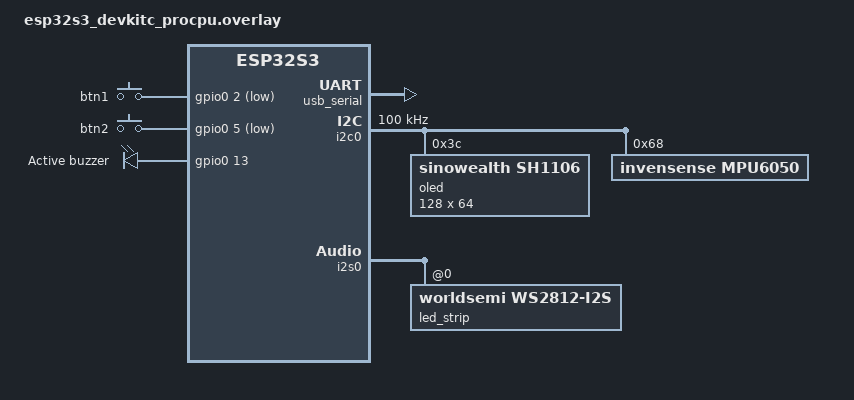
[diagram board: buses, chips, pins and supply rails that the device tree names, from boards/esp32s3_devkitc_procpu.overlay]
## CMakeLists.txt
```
# SPDX-License-Identifier: Apache-2.0

cmake_minimum_required(VERSION 3.20.0)

find_package(Zephyr REQUIRED HINTS $ENV{ZEPHYR_BASE})
project(zcube)

FILE(GLOB main_app_sources src/*.c)

list(REMOVE_ITEM main_app_sources "${CMAKE_CURRENT_SOURCE_DIR}/src/bringup.c")

message("Files: " ${main_app_sources})

if(CONFIG_APP_FIRMWARE_BRINGUP)
  target_sources(app PRIVATE src/bringup.c)
else()
  target_sources(app PRIVATE ${main_app_sources})
endif()
```

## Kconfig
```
# Copyright (c) 2019 Nordic Semiconductor ASA
# SPDX-License-Identifier: Apache-2.0

menu "WS2812 Sample Configuration"

config SAMPLE_LED_UPDATE_DELAY
	int "Delay between LED updates in ms"
	default 50
	help
	  Delay between LED updates in ms.

config SAMPLE_LED_BRIGHTNESS
	int "LED brightness"
	default 16
	range 1 255
	help
	  Brightness level of each LED. Defaults to a low value to make
	  it easier to distinguish colors.

endmenu

choice APP_FIRMWARE
	prompt "Firmware image to build"
	default APP_FIRMWARE_MAIN
	help
	  Seleciona qual imagem compilar a partir desta aplicacao.

config APP_FIRMWARE_MAIN
	bool "Main application firmware"
	help
	  Aplicacao principal do zcube (a ser desenvolvida). Fonte: src/main.c

config APP_FIRMWARE_BRINGUP
	bool "Hardware bringup test firmware"
	select SHELL
	select GPIO_SHELL
	select SENSOR_SHELL
	select CONFIG_CHARACTER_FRAMEBUFFER_SHELL
	help
	  Firmware de teste: apertar um botao -> beep no buzzer + alterna cor do WS2812.
	  Fonte: src/bringup.c

endchoice

source "Kconfig.zephyr"
```

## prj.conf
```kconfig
CONFIG_LOG=y

# Subsistemas
CONFIG_INPUT=y
CONFIG_LED=y
CONFIG_LED_STRIP=y
CONFIG_DISPLAY=y
CONFIG_CHARACTER_FRAMEBUFFER=y
CONFIG_SENSOR=y

CONFIG_ZBUS=y
CONFIG_SMF=y
CONFIG_SMF_ANCESTOR_SUPPORT=y
CONFIG_SMF_INITIAL_TRANSITION=y

CONFIG_CONSOLE=y

# Bluetooth (peripheral)
CONFIG_BT=y
CONFIG_BT_PERIPHERAL=y
CONFIG_BT_DEVICE_NAME="zcube"

CONFIG_HEAP_MEM_POOL_SIZE=65536

CONFIG_FLASH=y
CONFIG_FLASH_MAP=y
CONFIG_NVS=y
CONFIG_SETTINGS=y
CONFIG_SETTINGS_NVS=y
```

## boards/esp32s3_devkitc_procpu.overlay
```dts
/*
 * Copyright (c) 2024-2025 Espressif Systems (Shanghai) Co., Ltd.
 *
 * SPDX-License-Identifier: Apache-2.0
 */

#include <zephyr/dt-bindings/led/led.h>
#include <zephyr/dt-bindings/i2c/i2c.h>
#include <zephyr/dt-bindings/gpio/gpio.h>
#include <zephyr/dt-bindings/input/input-event-codes.h>

/ {
	chosen {
		zephyr,display = &oled;
		zephyr,console = &usb_serial;
		zephyr,shell-uart = &usb_serial;
	};

	aliases {
		led-strip = &led_strip;
		accel0 = &mpu6050;
		sw0 = &btn1;
		sw1 = &btn2;
		buzzer = &buzzer;
	};

	buttons: gpio_keys {
		compatible = "gpio-keys";

		btn1: button_1 {
			gpios = <&gpio0 2 (GPIO_ACTIVE_LOW | GPIO_PULL_UP)>;
			zephyr,code = <INPUT_KEY_0>;
		};

		btn2: button_2 {
			gpios = <&gpio0 5 (GPIO_ACTIVE_LOW | GPIO_PULL_UP)>;
			zephyr,code = <INPUT_KEY_1>;
		};
	};

	buzzer_dev: gpio_buzzer {
		compatible = "gpio-leds";

		buzzer: buzzer_gpio {
			gpios = <&gpio0 13 GPIO_ACTIVE_HIGH>;
			label = "Active buzzer";
		};
	};
};

&usb_serial {
	status = "okay";
};

/* Route the shared I2C0 bus to SDA=GPIO3 / SCL=GPIO4 (OLED + MPU6050). */
&i2c0_default {
	group1 {
		pinmux = <I2C0_SDA_GPIO3>, <I2C0_SCL_GPIO4>;
	};
};

&i2c0 {
	status = "okay";
	clock-frequency = <I2C_BITRATE_STANDARD>;

	oled: sh1106@3c {
		compatible = "sinowealth,sh1106";
		reg = <0x3c>;
		width = <128>;
		height = <64>;
		segment-offset = <2>;
		page-offset = <0>;
		display-offset = <0>;
		multiplex-ratio = <63>;
		prechargep = <0x22>;
		segment-remap;
		com-invdir;
	};

	mpu6050: mpu6050@68 {
		compatible = "invensense,mpu6050";
		reg = <0x68>;
	};
};

&i2s0_default {
	group1 {
		pinmux = <I2S0_O_SD_GPIO48>;
	};
};

i2s_led: &i2s0 {
	status = "okay";

	dmas = <&dma 3>;
	dma-names = "tx";

	led_strip: ws2812@0 {
		compatible = "worldsemi,ws2812-i2s";

		reg = <0>;
		chain-length = <1>;
		color-mapping = <LED_COLOR_ID_GREEN
				 LED_COLOR_ID_RED
				 LED_COLOR_ID_BLUE>;
		reset-delay = <500>;
	};
};

&dma {
	status = "okay";
};
```

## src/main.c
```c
/*
 * Copyright (c) 2017 Linaro Limited
 * Copyright (c) 2018 Intel Corporation
 * Copyright (c) 2024 TOKITA Hiroshi
 *
 * SPDX-License-Identifier: Apache-2.0
 */

#include <errno.h>
#include <string.h>

#include <zephyr/logging/log.h>

#include <zephyr/kernel.h>
#include <zephyr/drivers/led_strip.h>
#include <zephyr/device.h>
#include <zephyr/drivers/spi.h>
#include <zephyr/sys/util.h>

LOG_MODULE_REGISTER(main);
#define LOG_LEVEL 4

int main(void)
{
	return 0;
}
```

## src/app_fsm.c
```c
/**
 * @file app_fsm.c
 * 
 * @author Pedro Giló (phvg@ic.ufal.br)
 * @author Thiago Laurentino (tfml@ic.ufal.br)
 * @author Caio Oliveira (cofa@ic.ufal.br)
 *
 * @brief FSM do Pomodoro baseada em SMF: gerencia as fases WORK/BREAK/LONG_BREAK,
 *        o tick de 1 Hz e publica as atualizacoes de tela no servico de UI.
 * @version 0.1
 * @date 2026-07-05
 *
 * @copyright Copyright (c) 2026
 *
 */

#include "app_fsm.h"
#include "ui_service.h"
#include "orientation_service.h"
#include "led_driver.h"

#include <zephyr/kernel.h>
#include <zephyr/drivers/gpio.h>
#include <zephyr/smf.h>
#include <zephyr/logging/log.h>
#include <stdint.h>
#include <string.h>

LOG_MODULE_REGISTER(app_fsm_module, LOG_LEVEL_DBG);

/** @brief Tamanho da stack da thread da FSM (bytes). */
#define APP_FSM_STACK_SIZE 4096

/** @brief Prioridade da thread da FSM. */
#define APP_FSM_PRIORITY 5

/** @brief Duracao default do contador de WORK (s). */
#define WORK_DURATION_S (1 * 60)

/** @brief Duracao default do contador de BREAK (s). */
#define BREAK_DURATION_S (1 * 60)

/** @brief Duracao default do contador de LONG_BREAK (s). */
#define LONG_BREAK_DURATION_S (1 * 60)

/** @brief Periodo do tick da FSM (s). */
#define TICK_PERIOD_S 1

/** @brief Quantos WORK concluidos antes de um LONG_BREAK. */
#define WORK_CYCLES_PER_LONG_BREAK 4

/** @brief Cadencia do apito de alarme no fim de fase (ms, ciclo on/off completo). */
#define BUZZER_ALARM_PERIOD_MS 500

/**
 * @brief Estado da FSM do Pomodoro.
 *
 */
enum app_fsm_state {
	APP_FSM_STATE_RUNNING,    /**< Pai: tick/decremento comum. */
	APP_FSM_STATE_WORK,       /**< Filho de RUNNING: fase de trabalho. */
	APP_FSM_STATE_BREAK,      /**< Filho de RUNNING: pausa curta. */
	APP_FSM_STATE_LONG_BREAK, /**< Filho de RUNNING: pausa longa. */
	APP_FSM_STATE_PAUSED,     /**< Irmao: contador congelado. */
};

/**
 * @brief Contexto e estado da FSM do Pomodoro.
 *
 */
struct app_fsm_obj {
	struct smf_ctx ctx;          /**< Contexto do framework SMF. */
	struct app_fsm_evt_data evt; /**< Evento em processamento. */
	uint32_t remaining_s;        /**< Contador do estado ativo (decrementado pelo tick). */
	uint32_t work_s;             /**< Valor de contador do WORK. */
	uint32_t break_s;            /**< Valor de contador do BREAK. */
	uint32_t long_break_s;       /**< Valor de contador do LONG_BREAK. */
	enum ui_phase phase;         /**< Fase atual: UI e decisao da proxima fase. */
	uint8_t cycle_done;          /**< WORK concluidos no conjunto. */
	uint8_t cycle_total;         /**< WORK por conjunto antes do LONG_BREAK. */
	enum ui_arrow_dir arrow_dir; /**< Direcao da seta de acao (segue a orientacao). */
	const struct smf_state *resume_state; /**< Estado a retomar ao sair de PAUSED. */
};

/**
 * @brief Entry de RUNNING: inicia o timer periodico de tick.
 *
 * @param o [in,out] Contexto da FSM.
 */
static void running_entry(void *o);

/**
 * @brief Run de RUNNING: trata TICK (decremento/avanco) e giro (pausa).
 *
 * @param o [in,out] Contexto da FSM.
 * @return enum smf_state_result Sempre SMF_EVENT_HANDLED.
 */
static enum smf_state_result running_run(void *o);

/**
 * @brief Exit de RUNNING: para o timer periodico de tick.
 *
 * @param o [in,out] Contexto da FSM.
 */
static void running_exit(void *o);

/**
 * @brief Entry de WORK: fixa a fase de trabalho e atualiza a UI.
 *
 * @param o [in,out] Contexto da FSM.
 */
static void work_entry(void *o);

/**
 * @brief Entry de BREAK: fixa a pausa curta e atualiza a UI.
 *
 * @param o [in,out] Contexto da FSM.
 */
static void break_entry(void *o);

/**
 * @brief Entry de LONG_BREAK: fixa a pausa longa e atualiza a UI.
 *
 * @param o [in,out] Contexto da FSM.
 */
static void long_break_entry(void *o);

/**
 * @brief Entry de PAUSED: mostra a fase atual congelada na UI.
 *
 * @param o [in,out] Contexto da FSM.
 */
static void paused_entry(void *o);

/**
 * @brief Run de PAUSED: retoma o estado ao girar para FRONT/TOP.
 *
 * @param o [in,out] Contexto da FSM.
 * @return enum smf_state_result Sempre SMF_EVENT_HANDLED.
 */
static enum smf_state_result paused_run(void *o);

/**
 * @brief Fim de fase: escolhe a proxima, carrega sua duracao e vai para PAUSED.
 *
 * @param s [in,out] Contexto da FSM.
 */
static void advance_phase(struct app_fsm_obj *s);

/**
 * @brief Nome legivel da fase ativa (perfil): "work", "break" ou "long break".
 *
 * @param phase Fase atual do ciclo.
 * @return const char* Texto da fase; nunca retorna NULL.
 */
static const char *phase_name(enum ui_phase phase);

/**
 * @brief Reflete o estado atual (contador, run/paused e seta) no display.
 *
 * @param s [in] Contexto da FSM com os dados a exibir.
 * @param state Estado de operacao (rodando ou pausado) para a UI.
 */
static void publish_ui(const struct app_fsm_obj *s, enum ui_run_state state);

/**
 * @brief Reinicia o Pomodoro com as duracoes atuais: volta a WORK pausado.
 *
 * @param s [in,out] Contexto da FSM (usa work_s/break_s/long_break_s ja carregados).
 */
static void app_fsm_restart(struct app_fsm_obj *s);

/**
 * @brief Callback do timer: publica APP_FSM_EVENT_TICK na fila da FSM.
 *
 * @param t Timer que disparou (nao utilizado).
 */
static void app_fsm_tick_cb(struct k_timer *t);

/**
 * @brief Thread da FSM: inicializa o estado e processa eventos do zbus.
 *
 * @param p1 Nao utilizado.
 * @param p2 Nao utilizado.
 * @param p3 Nao utilizado.
 */
static void app_fsm_thread(void *p1, void *p2, void *p3);

/**
 * @brief Singleton da FSM do Pomodoro.
 *
 */
static struct app_fsm_obj self;

/**
 * @brief Tabela de estados da FSM.
 *
 */
static const struct smf_state app_states[] = {
	[APP_FSM_STATE_RUNNING] = SMF_CREATE_STATE(running_entry, running_run, running_exit, NULL,
						   &app_states[APP_FSM_STATE_WORK]),
	[APP_FSM_STATE_WORK] =
		SMF_CREATE_STATE(work_entry, NULL, NULL, &app_states[APP_FSM_STATE_RUNNING], NULL),
	[APP_FSM_STATE_BREAK] =
		SMF_CREATE_STATE(break_entry, NULL, NULL, &app_states[APP_FSM_STATE_RUNNING], NULL),
	[APP_FSM_STATE_LONG_BREAK] = SMF_CREATE_STATE(long_break_entry, NULL, NULL,
						      &app_states[APP_FSM_STATE_RUNNING], NULL),
	[APP_FSM_STATE_PAUSED] = SMF_CREATE_STATE(paused_entry, paused_run, NULL, NULL, NULL),
};

K_TIMER_DEFINE(app_fsm_tick, app_fsm_tick_cb, NULL);

ZBUS_SUBSCRIBER_DEFINE(app_fsm_subscriber, 16);

ZBUS_CHAN_DEFINE(app_fsm_evt_chan, struct app_fsm_evt_data, NULL, NULL,
		 ZBUS_OBSERVERS(app_fsm_subscriber), ZBUS_MSG_INIT(0));

K_THREAD_DEFINE(app_fsm_tid, APP_FSM_STACK_SIZE, app_fsm_thread, NULL, NULL, NULL, APP_FSM_PRIORITY,
		0, 0);

static void app_fsm_tick_cb(struct k_timer *t)
{
	ARG_UNUSED(t);

	struct app_fsm_evt_data msg = {.id = APP_FSM_EVENT_TICK};
	(void)zbus_chan_pub(&app_fsm_evt_chan, &msg, K_NO_WAIT); /* K_NO_WAIT: seguro em ISR */
}

static const char *phase_name(enum ui_phase phase)
{
	const char *name;

	switch (phase) {
	case UI_PHASE_WORK: {
		name = "work";
	} break;
	case UI_PHASE_SHORT_BREAK: {
		name = "break";
	} break;
	case UI_PHASE_LONG_BREAK: {
		name = "long break";
	} break;
	default: {
		name = "";
	} break;
	}

	return name;
}

static void publish_ui(const struct app_fsm_obj *s, enum ui_run_state state)
{
	struct ui_msg msg = {
		.screen = UI_SCREEN_MAIN,
		.data.main =
			{
				.remaining_s = s->remaining_s,
				.state = state,
				.phase = s->phase,
				.cycle_done = s->cycle_done,
				.cycle_total = s->cycle_total,
				.arrow_dir = s->arrow_dir,
			},
	};

	strncpy(msg.data.main.profile_name, phase_name(s->phase),
		sizeof(msg.data.main.profile_name) - 1);

	(void)ui_service_update(&msg);
}

static void advance_phase(struct app_fsm_obj *s)
{
	switch (s->phase) {
	case UI_PHASE_WORK: {
		s->cycle_done++;
		if (s->cycle_done >= s->cycle_total) {
			s->phase = UI_PHASE_LONG_BREAK;
			s->remaining_s = s->long_break_s;
			s->resume_state = &app_states[APP_FSM_STATE_LONG_BREAK];
		} else {
			s->phase = UI_PHASE_SHORT_BREAK;
			s->remaining_s = s->break_s;
			s->resume_state = &app_states[APP_FSM_STATE_BREAK];
		}
	} break;
	case UI_PHASE_SHORT_BREAK: {
		s->phase = UI_PHASE_WORK;
		s->remaining_s = s->work_s;
		s->resume_state = &app_states[APP_FSM_STATE_WORK];
	} break;
	case UI_PHASE_LONG_BREAK: {
		s->cycle_done = 0;
		s->phase = UI_PHASE_WORK;
		s->remaining_s = s->work_s;
		s->resume_state = &app_states[APP_FSM_STATE_WORK];
	} break;
	default: {
		/* Do nothing */
	} break;
	}

	smf_set_state(SMF_CTX(&self), &app_states[APP_FSM_STATE_PAUSED]);
}

static void app_fsm_restart(struct app_fsm_obj *s)
{
	s->remaining_s = s->work_s;
	s->phase = UI_PHASE_WORK;
	s->cycle_done = 0;
	s->resume_state = &app_states[APP_FSM_STATE_WORK];

	ui_service_buzzer(&(struct ui_buzzer_msg){.cmd = UI_BUZZER_OFF});
	smf_set_state(SMF_CTX(&self), &app_states[APP_FSM_STATE_PAUSED]);
}

static void running_entry(void *o)
{
	ARG_UNUSED(o);
	k_timer_start(&app_fsm_tick, K_SECONDS(TICK_PERIOD_S), K_SECONDS(TICK_PERIOD_S));
}

static enum smf_state_result running_run(void *o)
{
	struct app_fsm_obj *s = (struct app_fsm_obj *)o;

	switch (s->evt.id) {
	case APP_FSM_EVENT_TICK: {
		if (s->remaining_s > 0) {
			s->remaining_s--;
		}
		if (s->remaining_s == 0) {
			/* Fim de fase: apita indefinidamente ate um novo modo iniciar. */
			ui_service_buzzer(&(struct ui_buzzer_msg){
				.cmd = UI_BUZZER_ON,
				.period_ms = BUZZER_ALARM_PERIOD_MS,
				.duration_ms = 0,
			});
			advance_phase(s);
			break;
		}
		publish_ui(s, UI_STATE_RUNNING);
	} break;
	case APP_FSM_EVENT_ORIENTATION_CHANGED: {
		if (s->evt.data.orientation.current_face == ORIENTATION_FRONT ||
		    s->evt.data.orientation.current_face == ORIENTATION_TOP) {
			smf_set_state(SMF_CTX(&self), &app_states[APP_FSM_STATE_PAUSED]);
		}
	} break;
	case APP_FSM_EVENT_SKIP: {
		/* Pula para a proxima fase, que comeca pausada (advance_phase -> PAUSED). */
		ui_service_buzzer(&(struct ui_buzzer_msg){.cmd = UI_BUZZER_OFF});
		advance_phase(s);
	} break;
	default: {
		/* Do nothing */
	} break;
	}

	return SMF_EVENT_HANDLED;
}

static void running_exit(void *o)
{
	ARG_UNUSED(o);
	k_timer_stop(&app_fsm_tick);
}

static void work_entry(void *o)
{
	struct app_fsm_obj *s = (struct app_fsm_obj *)o;

	s->phase = UI_PHASE_WORK;
	s->resume_state = &app_states[APP_FSM_STATE_WORK];

	ui_service_buzzer(&(struct ui_buzzer_msg){.cmd = UI_BUZZER_OFF});
	publish_ui(s, UI_STATE_RUNNING);
}

static void break_entry(void *o)
{
	struct app_fsm_obj *s = (struct app_fsm_obj *)o;

	s->phase = UI_PHASE_SHORT_BREAK;
	s->resume_state = &app_states[APP_FSM_STATE_BREAK];

	ui_service_buzzer(&(struct ui_buzzer_msg){.cmd = UI_BUZZER_OFF});
	publish_ui(s, UI_STATE_RUNNING);
}

static void long_break_entry(void *o)
{
	struct app_fsm_obj *s = (struct app_fsm_obj *)o;

	s->phase = UI_PHASE_LONG_BREAK;
	s->resume_state = &app_states[APP_FSM_STATE_LONG_BREAK];

	ui_service_buzzer(&(struct ui_buzzer_msg){.cmd = UI_BUZZER_OFF});
	publish_ui(s, UI_STATE_RUNNING);
}

static void paused_entry(void *o)
{
	struct app_fsm_obj *s = (struct app_fsm_obj *)o;

	publish_ui(s, UI_STATE_PAUSED);
}

static enum smf_state_result paused_run(void *o)
{
	struct app_fsm_obj *s = (struct app_fsm_obj *)o;

	switch (s->evt.id) {

	case APP_FSM_EVENT_SKIP: {
		ui_service_buzzer(&(struct ui_buzzer_msg){.cmd = UI_BUZZER_OFF});
		advance_phase(s);
	} break;

	case APP_FSM_EVENT_ORIENTATION_CHANGED: {
		if ((s->evt.data.orientation.current_face == ORIENTATION_FRONT) ||
		    (s->evt.data.orientation.current_face == ORIENTATION_TOP)) {
			smf_set_state(SMF_CTX(&self), s->resume_state);
		}
	} break;

	default: {
		/* DO NOTHING */
	} break;
	}

	return SMF_EVENT_HANDLED;
}

static void app_fsm_thread(void *p1, void *p2, void *p3)
{
	ARG_UNUSED(p1);
	ARG_UNUSED(p2);
	ARG_UNUSED(p3);

	const struct zbus_channel *chan;

	self.work_s = WORK_DURATION_S;
	self.break_s = BREAK_DURATION_S;
	self.long_break_s = LONG_BREAK_DURATION_S;
	self.remaining_s = self.work_s;
	self.phase = UI_PHASE_WORK;
	self.cycle_done = 0;
	self.cycle_total = WORK_CYCLES_PER_LONG_BREAK;
	self.resume_state = &app_states[APP_FSM_STATE_WORK];
	self.arrow_dir = UI_ARROW_TOP;

	/* Comeca parado mostrando WORK; girar para FRONT/TOP inicia a contagem. */
	smf_set_initial(SMF_CTX(&self), &app_states[APP_FSM_STATE_PAUSED]);

	while (!zbus_sub_wait(&app_fsm_subscriber, &chan, K_FOREVER)) {
		struct app_fsm_evt_data evt = {0};

		if (&app_fsm_evt_chan == chan) {
			int rc = zbus_chan_read(&app_fsm_evt_chan, &evt, K_MSEC(200));
			if (rc) {
				LOG_WRN("zbus_chan_read fail: %d", rc);
				continue;
			}

			if (evt.id == APP_FSM_EVENT_CONFIG) {
				self.work_s = evt.data.config.work_s;
				self.break_s = evt.data.config.break_s;
				self.long_break_s = evt.data.config.long_break_s;
				app_fsm_restart(&self);
				continue;
			}

			if (evt.id == APP_FSM_EVENT_ORIENTATION_CHANGED) {
				switch (evt.data.orientation.current_face) {
				case ORIENTATION_FRONT: {
					self.arrow_dir = UI_ARROW_TOP;
				} break;
				case ORIENTATION_TOP: {
					self.arrow_dir = UI_ARROW_BOTTOM;
				} break;
				default: {
					/* outras faces nao alteram a seta */
				} break;
				}
			}

			self.evt = evt;
			smf_run_state(SMF_CTX(&self));
		}
	}
}
```

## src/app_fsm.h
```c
/**
 * @file app_fsm.h
 *
 * @author Pedro Giló (phvg@ic.ufal.br)
 * @author Thiago Laurentino (tfml@ic.ufal.br)
 * @author Caio Oliveira (cofa@ic.ufal.br)
 *
 * @brief Interface publica da FSM do Pomodoro: eventos e struct de dados de
 *        evento postados no canal zbus da FSM.
 * @version 0.1
 * @date 2026-07-05
 *
 * @copyright Copyright (c) 2026
 *
 */

#ifndef APP_FSM_H
#define APP_FSM_H

#include "zbus_chan.h"
#include "orientation_service.h"

#include <stdint.h>

/**
 * @brief Evento processado pela FSM do Pomodoro.
 *
 */
enum app_fsm_event {
	APP_FSM_EVENT_HANDLE = 0,          /**< Reservado (nao utilizado). */
	APP_FSM_EVENT_NEXT,                /**< Alterna rodar/pausar o timer. */
	APP_FSM_EVENT_PREVIOUS,            /**< Zera o timer atual. */
	APP_FSM_EVENT_ORIENTATION_CHANGED, /**< Face para cima mudou. */
	APP_FSM_EVENT_TICK,                /**< 1 Hz: decrementa o contador ativo. */
	APP_FSM_EVENT_SKIP,                /**< Pula a fase atual (long press dos dois botoes). */
	APP_FSM_EVENT_CONFIG,              /**< Nova configuracao (duracoes) aplicada via BLE. */
};

/**
 * @brief Dados de um evento postado na FSM.
 *
 */
struct app_fsm_evt_data {
	enum app_fsm_event id; /**< Identificador do evento. */

	union data {
		struct orientation {
			enum orientation_face previous_face; /**< Face anterior. */
			enum orientation_face current_face;  /**< Face atual. */
		} orientation;                               /**< Dados de mudanca de orientacao. */
		struct config_evt_data {
			uint16_t work_s;       /**< Nova duracao WORK (s). */
			uint16_t break_s;      /**< Nova duracao BREAK (s). */
			uint16_t long_break_s; /**< Nova duracao LONG_BREAK (s). */
		} config;
	} data; /**< Carga util especifica do evento. */
};

#endif /* APP_FSM_H */
```

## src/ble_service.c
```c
/**
 * @file ble_service.c
 *
 * @author Pedro Giló (phvg@ic.ufal.br)
 * @author Thiago Laurentino (tfml@ic.ufal.br)
 * @author Caio Oliveira (cofa@ic.ufal.br)
 *
 * @brief Servico BLE das duracoes do Pomodoro: servico GATT para ler/escrever
 *        WORK/BREAK/LONG_BREAK (persistidas em NVS via Settings), aplicar a config
 *        (reinicia a FSM pelo zbus) e transmitir por notify a fase ativa e o tempo
 *        restante (derivados do canal de UI).
 * @version 0.1
 * @date 2026-07-05
 *
 * @copyright Copyright (c) 2026
 *
 */

#include "ble_service.h"
#include "ble_uuids.h"
#include "app_fsm.h"
#include "ui_service.h"
#include "zbus_chan.h"

#include <zephyr/kernel.h>
#include <zephyr/bluetooth/bluetooth.h>
#include <zephyr/bluetooth/gatt.h>
#include <zephyr/bluetooth/att.h>
#include <zephyr/settings/settings.h>
#include <zephyr/sys/byteorder.h>
#include <zephyr/logging/log.h>
#include <string.h>

LOG_MODULE_REGISTER(ble_service, LOG_LEVEL_DBG);

/** @brief Tamanho da stack da thread do servico BLE (bytes). */
#define BLE_SERVICE_STACK_SIZE 4096

/** @brief Prioridade da thread do servico BLE. */
#define BLE_SERVICE_PRIORITY 7

/** @brief Profundidade da fila do subscriber do canal de UI. */
#define BLE_SERVICE_QUEUE_DEPTH 8

/** @brief Duracao default de fabrica do WORK (min). */
#define BLE_SERVICE_DEFAULT_WORK_MIN 1

/** @brief Duracao default de fabrica do BREAK (min). */
#define BLE_SERVICE_DEFAULT_BREAK_MIN 1

/** @brief Duracao default de fabrica do LONG_BREAK (min). */
#define BLE_SERVICE_DEFAULT_LONG_BREAK_MIN 1

/** @brief Duracao minima aceita numa escrita (min). */
#define BLE_SERVICE_MIN_MINUTES 1

/** @brief Duracao maxima aceita numa escrita (min). */
#define BLE_SERVICE_MAX_MINUTES 60

/** @brief Segundos por minuto (conversao para a FSM). */
#define BLE_SERVICE_SECONDS_PER_MIN 60

/** @brief Subtree do Settings do modulo. */
#define BLE_SERVICE_SETTINGS_SUBTREE "zcube"

/** @brief Chave do Settings (relativa ao subtree) com o blob das 3 duracoes. */
#define BLE_SERVICE_SETTINGS_KEY "cfg"

/** @brief Caminho completo da chave usada em settings_save_one. */
#define BLE_SERVICE_SETTINGS_PATH BLE_SERVICE_SETTINGS_SUBTREE "/" BLE_SERVICE_SETTINGS_KEY

/** @brief Tamanho do blob persistido: 3 duracoes u16 little-endian (min). */
#define BLE_SERVICE_BLOB_LEN 6

/** @brief Indice do atributo de valor da fase ativa na tabela do servico. */
#define BLE_SERVICE_ATTR_PHASE_IDX 10

/** @brief Indice do atributo de valor do tempo restante na tabela do servico. */
#define BLE_SERVICE_ATTR_REMAINING_IDX 13

/**
 * @brief Callback de mudanca de CCC (subscribe/unsubscribe de notify).
 *
 * @param attr Atributo CCC alterado.
 * @param value Novo valor do CCC.
 */
static void ble_ccc_changed(const struct bt_gatt_attr *attr, uint16_t value);

/**
 * @brief Read GATT de um u16 apontado por attr->user_data (little-endian).
 *
 * @param conn Conexao que le.
 * @param attr Atributo cujo user_data aponta para um uint16_t.
 * @param buf [out] Buffer de saida do ATT.
 * @param len Tamanho do buffer.
 * @param offset Deslocamento da leitura.
 * @return ssize_t Bytes lidos ou codigo de erro ATT.
 */
static ssize_t ble_read_u16(struct bt_conn *conn, const struct bt_gatt_attr *attr, void *buf,
			    uint16_t len, uint16_t offset);

/**
 * @brief Write GATT de uma duracao (u16 min) apontada por attr->user_data; persiste.
 *
 * @param conn Conexao que escreve.
 * @param attr Atributo cujo user_data aponta para um uint16_t (minutos).
 * @param buf [in] Dados recebidos (u16 little-endian, em minutos).
 * @param len Tamanho dos dados.
 * @param offset Deslocamento da escrita.
 * @param flags Flags do write.
 * @return ssize_t Bytes escritos ou codigo de erro ATT.
 */
static ssize_t ble_write_duration(struct bt_conn *conn, const struct bt_gatt_attr *attr,
				  const void *buf, uint16_t len, uint16_t offset, uint8_t flags);

/**
 * @brief Read GATT da fase ativa (u8).
 *
 * @param conn Conexao que le.
 * @param attr Atributo lido.
 * @param buf [out] Buffer de saida do ATT.
 * @param len Tamanho do buffer.
 * @param offset Deslocamento da leitura.
 * @return ssize_t Bytes lidos ou codigo de erro ATT.
 */
static ssize_t ble_read_phase(struct bt_conn *conn, const struct bt_gatt_attr *attr, void *buf,
			      uint16_t len, uint16_t offset);

/**
 * @brief Write GATT de apply: publica a config no zbus para a FSM reiniciar.
 *
 * @param conn Conexao que escreve.
 * @param attr Atributo escrito.
 * @param buf [in] Deve conter um unico byte igual a 1.
 * @param len Tamanho dos dados.
 * @param offset Deslocamento da escrita.
 * @param flags Flags do write.
 * @return ssize_t Bytes escritos ou codigo de erro ATT.
 */
static ssize_t ble_write_apply(struct bt_conn *conn, const struct bt_gatt_attr *attr,
			       const void *buf, uint16_t len, uint16_t offset, uint8_t flags);

/**
 * @brief Persiste as 3 duracoes atuais como um blob em NVS via Settings.
 *
 * @return int 0 em sucesso, negativo em falha.
 */
static int ble_service_save(void);

/**
 * @brief Publica a config atual (3 duracoes) no canal da FSM.
 *
 * @param timeout Timeout do zbus_chan_pub.
 */
static void ble_service_publish_config(k_timeout_t timeout);

/**
 * @brief Handler de Settings: carrega o blob das 3 duracoes para o singleton.
 *
 * @param key Chave relativa ao subtree.
 * @param len Tamanho do dado no backend.
 * @param read_cb Funcao para ler o dado do backend.
 * @param cb_arg Argumento opaco do backend.
 * @return int 0 em sucesso, negativo em falha.
 */
static int ble_settings_set(const char *key, size_t len, settings_read_cb read_cb, void *cb_arg);

/**
 * @brief Envia notify da fase ativa e do tempo restante aos clientes inscritos.
 */
static void ble_service_notify(void);

/**
 * @brief Thread do servico BLE: inicializa Settings/BT/advertising e transmite
 *        o estado da FSM (fase ativa e tempo restante) por notify.
 *
 * @param p1 Nao utilizado.
 * @param p2 Nao utilizado.
 * @param p3 Nao utilizado.
 */
static void ble_service_thread(void *p1, void *p2, void *p3);

/**
 * @brief Singleton do servico BLE.
 *
 */
static struct ble_service {
	uint16_t work_min;       /**< Duracao WORK (min). */
	uint16_t break_min;      /**< Duracao BREAK (min). */
	uint16_t long_break_min; /**< Duracao LONG_BREAK (min). */
	uint16_t remaining_s;    /**< Ultimo tempo restante recebido do canal de UI (s). */
	uint8_t active_phase;    /**< Ultima fase recebida do canal de UI (enum ui_phase). */
} self = {
	.work_min = BLE_SERVICE_DEFAULT_WORK_MIN,
	.break_min = BLE_SERVICE_DEFAULT_BREAK_MIN,
	.long_break_min = BLE_SERVICE_DEFAULT_LONG_BREAK_MIN,
	.remaining_s = BLE_SERVICE_DEFAULT_WORK_MIN * BLE_SERVICE_SECONDS_PER_MIN,
	.active_phase = UI_PHASE_WORK,
};

/**
 * @brief Handler de Settings do modulo (subtree "zcube").
 *
 */
static struct settings_handler ble_settings_handler = {
	.name = BLE_SERVICE_SETTINGS_SUBTREE,
	.h_set = ble_settings_set,
};

/**
 * @brief Dados de advertising: flags e nome completo do dispositivo.
 *
 */
static const struct bt_data ble_adv_data[] = {
	BT_DATA_BYTES(BT_DATA_FLAGS, (BT_LE_AD_GENERAL | BT_LE_AD_NO_BREDR)),
	BT_DATA(BT_DATA_NAME_COMPLETE, CONFIG_BT_DEVICE_NAME, sizeof(CONFIG_BT_DEVICE_NAME) - 1),
};

BT_GATT_SERVICE_DEFINE(
	zcube_svc,
	 BT_GATT_PRIMARY_SERVICE(BLE_UUID_ZCUBE_SVC),
	BT_GATT_CHARACTERISTIC(BLE_UUID_ZCUBE_WORK, BT_GATT_CHRC_READ | BT_GATT_CHRC_WRITE,
			       BT_GATT_PERM_READ | BT_GATT_PERM_WRITE, ble_read_u16,
			       ble_write_duration, &self.work_min),
	BT_GATT_CHARACTERISTIC(BLE_UUID_ZCUBE_BREAK, BT_GATT_CHRC_READ | BT_GATT_CHRC_WRITE,
			       BT_GATT_PERM_READ | BT_GATT_PERM_WRITE, ble_read_u16,
			       ble_write_duration, &self.break_min),
	BT_GATT_CHARACTERISTIC(BLE_UUID_ZCUBE_LONG_BREAK, BT_GATT_CHRC_READ | BT_GATT_CHRC_WRITE,
			       BT_GATT_PERM_READ | BT_GATT_PERM_WRITE, ble_read_u16,
			       ble_write_duration, &self.long_break_min),
	BT_GATT_CHARACTERISTIC(BLE_UUID_ZCUBE_APPLY, BT_GATT_CHRC_WRITE, BT_GATT_PERM_WRITE, NULL,
			       ble_write_apply, NULL),
	BT_GATT_CHARACTERISTIC(BLE_UUID_ZCUBE_ACTIVE_PHASE, BT_GATT_CHRC_READ | BT_GATT_CHRC_NOTIFY,
			       BT_GATT_PERM_READ, ble_read_phase, NULL, NULL),
	BT_GATT_CCC(ble_ccc_changed, BT_GATT_PERM_READ | BT_GATT_PERM_WRITE),
	BT_GATT_CHARACTERISTIC(BLE_UUID_ZCUBE_REMAINING, BT_GATT_CHRC_READ | BT_GATT_CHRC_NOTIFY,
			       BT_GATT_PERM_READ, ble_read_u16, NULL, &self.remaining_s),
	BT_GATT_CCC(ble_ccc_changed, BT_GATT_PERM_READ | BT_GATT_PERM_WRITE), );

ZBUS_SUBSCRIBER_DEFINE(ble_service_subscriber, BLE_SERVICE_QUEUE_DEPTH);

ZBUS_CHAN_ADD_OBS(ui_cmd_chan, ble_service_subscriber, 3);

K_THREAD_DEFINE(ble_service_tid, BLE_SERVICE_STACK_SIZE, ble_service_thread, NULL, NULL, NULL,
		BLE_SERVICE_PRIORITY, 0, 0);

static void ble_ccc_changed(const struct bt_gatt_attr *attr, uint16_t value)
{
	ARG_UNUSED(attr);
	LOG_DBG("CCC alterado: 0x%04x", value);
}

static ssize_t ble_read_u16(struct bt_conn *conn, const struct bt_gatt_attr *attr, void *buf,
			    uint16_t len, uint16_t offset)
{
	const uint16_t *field = attr->user_data;
	uint8_t le[sizeof(uint16_t)];

	sys_put_le16(*field, le);
	return bt_gatt_attr_read(conn, attr, buf, len, offset, le, sizeof(le));
}

static ssize_t ble_write_duration(struct bt_conn *conn, const struct bt_gatt_attr *attr,
				  const void *buf, uint16_t len, uint16_t offset, uint8_t flags)
{
	ARG_UNUSED(conn);
	ARG_UNUSED(flags);

	uint16_t *field = attr->user_data;

	if (offset != 0) {
		return BT_GATT_ERR(BT_ATT_ERR_INVALID_OFFSET);
	}
	if (len != sizeof(uint16_t)) {
		return BT_GATT_ERR(BT_ATT_ERR_INVALID_ATTRIBUTE_LEN);
	}

	uint16_t v = sys_get_le16(buf);

	if (v < BLE_SERVICE_MIN_MINUTES || v > BLE_SERVICE_MAX_MINUTES) {
		return BT_GATT_ERR(BT_ATT_ERR_VALUE_NOT_ALLOWED);
	}

	*field = v;

	int rc = ble_service_save();

	if (rc) {
		LOG_ERR("Falha ao persistir config: %d", rc);
	}

	return len;
}

static ssize_t ble_read_phase(struct bt_conn *conn, const struct bt_gatt_attr *attr, void *buf,
			      uint16_t len, uint16_t offset)
{
	uint8_t v = self.active_phase;

	return bt_gatt_attr_read(conn, attr, buf, len, offset, &v, sizeof(v));
}

static ssize_t ble_write_apply(struct bt_conn *conn, const struct bt_gatt_attr *attr,
			       const void *buf, uint16_t len, uint16_t offset, uint8_t flags)
{
	ARG_UNUSED(conn);
	ARG_UNUSED(attr);
	ARG_UNUSED(flags);

	if (offset != 0) {
		return BT_GATT_ERR(BT_ATT_ERR_INVALID_OFFSET);
	}
	if (len != sizeof(uint8_t)) {
		return BT_GATT_ERR(BT_ATT_ERR_INVALID_ATTRIBUTE_LEN);
	}

	uint8_t v = *(const uint8_t *)buf;

	if (v != 1) {
		return BT_GATT_ERR(BT_ATT_ERR_VALUE_NOT_ALLOWED);
	}

	ble_service_publish_config(K_MSEC(50));
	return len;
}

static int ble_service_save(void)
{
	uint8_t blob[BLE_SERVICE_BLOB_LEN];

	sys_put_le16(self.work_min, &blob[0]);
	sys_put_le16(self.break_min, &blob[2]);
	sys_put_le16(self.long_break_min, &blob[4]);

	return settings_save_one(BLE_SERVICE_SETTINGS_PATH, blob, sizeof(blob));
}

static void ble_service_publish_config(k_timeout_t timeout)
{
	struct app_fsm_evt_data msg = {
		.id = APP_FSM_EVENT_CONFIG,
		.data.config = {
			.work_s = (uint16_t)(self.work_min * BLE_SERVICE_SECONDS_PER_MIN),
			.break_s = (uint16_t)(self.break_min * BLE_SERVICE_SECONDS_PER_MIN),
			.long_break_s = (uint16_t)(self.long_break_min * BLE_SERVICE_SECONDS_PER_MIN),
		},
	};

	int rc = zbus_chan_pub(&app_fsm_evt_chan, &msg, timeout);

	if (rc) {
		LOG_ERR("Falha ao publicar config: %d", rc);
	}
}

static int ble_settings_set(const char *key, size_t len, settings_read_cb read_cb, void *cb_arg)
{
	if (strcmp(key, BLE_SERVICE_SETTINGS_KEY) != 0) {
		return -ENOENT;
	}

	if (len != BLE_SERVICE_BLOB_LEN) {
		LOG_WRN("Blob de config com tamanho inesperado: %u", (unsigned int)len);
		return -EINVAL;
	}

	uint8_t blob[BLE_SERVICE_BLOB_LEN];
	ssize_t rd = read_cb(cb_arg, blob, sizeof(blob));

	if (rd != (ssize_t)sizeof(blob)) {
		LOG_ERR("Falha ao ler config do backend: %d", (int)rd);
		return -EIO;
	}

	self.work_min = sys_get_le16(&blob[0]);
	self.break_min = sys_get_le16(&blob[2]);
	self.long_break_min = sys_get_le16(&blob[4]);

	return 0;
}

static void ble_service_notify(void)
{
	uint8_t phase = self.active_phase;
	uint8_t remaining[sizeof(uint16_t)];

	sys_put_le16(self.remaining_s, remaining);

	(void)bt_gatt_notify(NULL, &zcube_svc.attrs[BLE_SERVICE_ATTR_PHASE_IDX], &phase,
			     sizeof(phase));
	(void)bt_gatt_notify(NULL, &zcube_svc.attrs[BLE_SERVICE_ATTR_REMAINING_IDX], remaining,
			     sizeof(remaining));
}

static void ble_service_thread(void *p1, void *p2, void *p3)
{
	ARG_UNUSED(p1);
	ARG_UNUSED(p2);
	ARG_UNUSED(p3);

	const struct zbus_channel *chan;

	int rc = settings_subsys_init();

	if (rc) {
		LOG_ERR("settings_subsys_init falhou: %d", rc);
		return;
	}

	rc = settings_register(&ble_settings_handler);
	if (rc) {
		LOG_ERR("settings_register falhou: %d", rc);
		return;
	}

	rc = settings_load();
	if (rc) {
		LOG_WRN("settings_load falhou: %d (usando defaults)", rc);
	}

	rc = bt_enable(NULL);
	if (rc) {
		LOG_ERR("bt_enable falhou: %d", rc);
		return;
	}

	rc = bt_le_adv_start(BT_LE_ADV_CONN_FAST_2, ble_adv_data, ARRAY_SIZE(ble_adv_data), NULL,
			     0);
	if (rc) {
		LOG_ERR("bt_le_adv_start falhou: %d", rc);
		return;
	}

	LOG_INF("Servico BLE 'zcube' no ar (work=%u break=%u long=%u min)", self.work_min,
		self.break_min, self.long_break_min);

	/* Tira a FSM do default de fabrica com os valores carregados do NVS. */
	ble_service_publish_config(K_MSEC(200));

	while (!zbus_sub_wait(&ble_service_subscriber, &chan, K_FOREVER)) {
		struct ui_msg msg = {0};

		if (&ui_cmd_chan != chan) {
			continue;
		}

		rc = zbus_chan_read(&ui_cmd_chan, &msg, K_MSEC(200));
		if (rc) {
			LOG_WRN("zbus_chan_read (ui) falhou: %d", rc);
			continue;
		}

		if (msg.screen != UI_SCREEN_MAIN) {
			continue;
		}

		self.active_phase = (uint8_t)msg.data.main.phase;
		self.remaining_s = (uint16_t)msg.data.main.remaining_s;
		ble_service_notify();
	}
}
```

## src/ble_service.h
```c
/**
 * @file ble_service.h
 *
 * @author Pedro Giló (phvg@ic.ufal.br)
 * @author Thiago Laurentino (tfml@ic.ufal.br)
 * @author Caio Oliveira (cofa@ic.ufal.br)
 *
 * @brief Servico BLE de configuracao das duracoes do Pomodoro. Expoe um servico
 *        GATT para ler/escrever WORK/BREAK/LONG_BREAK, aplicar (reinicia a FSM) e
 *        transmitir por notify a fase ativa e o tempo restante. Sobe sozinho via
 *        K_THREAD_DEFINE; nao ha API publica a chamar.
 * @version 0.1
 * @date 2026-07-05
 *
 * @copyright Copyright (c) 2026
 *
 */

#ifndef BLE_SERVICE_H
#define BLE_SERVICE_H

#endif /* BLE_SERVICE_H */
```

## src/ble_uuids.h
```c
/**
 * @file ble_uuids.h
 *
 * @author Pedro Giló (phvg@ic.ufal.br)
 * @author Thiago Laurentino (tfml@ic.ufal.br)
 * @author Caio Oliveira (cofa@ic.ufal.br)
 *
 * @brief UUIDs 128-bit do servico BLE de configuracao das duracoes do zcube:
 *        servico primario e caracteristicas derivadas do UUID base.
 * @version 0.1
 * @date 2026-07-05
 *
 * @copyright Copyright (c) 2026
 *
 */

#ifndef BLE_UUIDS_H
#define BLE_UUIDS_H

#include <zephyr/bluetooth/uuid.h>

/** @brief UUID base do zcube; o campo de 32 bits identifica cada atributo. */
#define BLE_UUID_ZCUBE(w32) BT_UUID_128_ENCODE((w32), 0xd7e2, 0x4b3a, 0x9c1e, 0x2a4b6c8d0e1f)

/** @brief UUID do servico primario de configuracao. */
#define BLE_UUID_ZCUBE_SVC_VAL BLE_UUID_ZCUBE(0x5f1d0001)

/** @brief UUID da caracteristica de duracao WORK. */
#define BLE_UUID_ZCUBE_WORK_VAL BLE_UUID_ZCUBE(0x5f1d0002)

/** @brief UUID da caracteristica de duracao BREAK. */
#define BLE_UUID_ZCUBE_BREAK_VAL BLE_UUID_ZCUBE(0x5f1d0003)

/** @brief UUID da caracteristica de duracao LONG_BREAK. */
#define BLE_UUID_ZCUBE_LONG_BREAK_VAL BLE_UUID_ZCUBE(0x5f1d0004)

/** @brief UUID da caracteristica de aplicar (reinicia o Pomodoro). */
#define BLE_UUID_ZCUBE_APPLY_VAL BLE_UUID_ZCUBE(0x5f1d0005)

/** @brief UUID da caracteristica de stream da fase ativa. */
#define BLE_UUID_ZCUBE_ACTIVE_PHASE_VAL BLE_UUID_ZCUBE(0x5f1d0006)

/** @brief UUID da caracteristica de stream do tempo restante. */
#define BLE_UUID_ZCUBE_REMAINING_VAL BLE_UUID_ZCUBE(0x5f1d0007)

/** @brief Ponteiro para o UUID do servico primario. */
#define BLE_UUID_ZCUBE_SVC BT_UUID_DECLARE_128(BLE_UUID_ZCUBE_SVC_VAL)

/** @brief Ponteiro para o UUID da caracteristica WORK. */
#define BLE_UUID_ZCUBE_WORK BT_UUID_DECLARE_128(BLE_UUID_ZCUBE_WORK_VAL)

/** @brief Ponteiro para o UUID da caracteristica BREAK. */
#define BLE_UUID_ZCUBE_BREAK BT_UUID_DECLARE_128(BLE_UUID_ZCUBE_BREAK_VAL)

/** @brief Ponteiro para o UUID da caracteristica LONG_BREAK. */
#define BLE_UUID_ZCUBE_LONG_BREAK BT_UUID_DECLARE_128(BLE_UUID_ZCUBE_LONG_BREAK_VAL)

/** @brief Ponteiro para o UUID da caracteristica APPLY. */
#define BLE_UUID_ZCUBE_APPLY BT_UUID_DECLARE_128(BLE_UUID_ZCUBE_APPLY_VAL)

/** @brief Ponteiro para o UUID da caracteristica de fase ativa. */
#define BLE_UUID_ZCUBE_ACTIVE_PHASE BT_UUID_DECLARE_128(BLE_UUID_ZCUBE_ACTIVE_PHASE_VAL)

/** @brief Ponteiro para o UUID da caracteristica de tempo restante. */
#define BLE_UUID_ZCUBE_REMAINING BT_UUID_DECLARE_128(BLE_UUID_ZCUBE_REMAINING_VAL)

#endif /* BLE_UUIDS_H */
```

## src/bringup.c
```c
#include <zephyr/kernel.h>
#include <zephyr/device.h>
#include <zephyr/drivers/led_strip.h>
#include <zephyr/drivers/led.h>
#include <zephyr/drivers/sensor.h>
#include <zephyr/input/input.h>
#include <zephyr/display/cfb.h>
#include <zephyr/logging/log.h>
#include <zephyr/sys/util.h>
#include <stdio.h>
#include <stdlib.h>

LOG_MODULE_REGISTER(bringup, LOG_LEVEL_INF);

#define STRIP_NODE  DT_ALIAS(led_strip)
#define ACCEL_NODE  DT_ALIAS(accel0)
#define BUZZER_NODE DT_ALIAS(buzzer)

#define STRIP_NUM_PIXELS DT_PROP(STRIP_NODE, chain_length)
#define BEEP_MS          60
#define REFRESH_MS       200
#define BRIGHT           CONFIG_SAMPLE_LED_BRIGHTNESS

static const struct device *const strip = DEVICE_DT_GET(STRIP_NODE);
static const struct device *const accel = DEVICE_DT_GET(ACCEL_NODE);
static const struct led_dt_spec buzzer = LED_DT_SPEC_GET(BUZZER_NODE);

static const struct device *const display = DEVICE_DT_GET(DT_CHOSEN(zephyr_display));

static const struct led_rgb palette[] = {
	{.r = 0, .g = 0, .b = 0},      /* off   */
	{.r = BRIGHT, .g = 0, .b = 0}, /* red   */
	{.r = 0, .g = BRIGHT, .b = 0}, /* green */
	{.r = 0, .g = 0, .b = BRIGHT}, /* blue  */
};

static struct led_rgb pixels[STRIP_NUM_PIXELS];
static K_SEM_DEFINE(press_sem, 0, 10);

/* Callback dos botões, quando ocorre interrupção no subsistema input verifica se a interrupção
gerada é a interrupção de um dos botões e incrementa o semaforo. */
static void button_cb(struct input_event *evt, void *user_data)
{
	/* so reage ao pressionar (value==1) */
	if (evt->type != INPUT_EV_KEY || evt->value == 0) {
		return;
	}

	k_sem_give(&press_sem);
}
INPUT_CALLBACK_DEFINE(NULL, button_cb, NULL);

static void show_color(size_t idx)
{
	for (size_t i = 0; i < STRIP_NUM_PIXELS; i++) {
		pixels[i] = palette[idx];
	}

	int rc = led_strip_update_rgb(strip, pixels, STRIP_NUM_PIXELS);

	if (rc) {
		LOG_ERR("led_strip_update_rgb: %d", rc);
	}
}

static void beep(void)
{
	led_on_dt(&buzzer);
	k_msleep(BEEP_MS);
	led_off_dt(&buzzer);
}

/* Formata "eixo: valor" com 2 casas decimais e sinal, sem depender do float. */
static void fmt_axis(char *buf, size_t n, char axis, const struct sensor_value *v)
{
	int32_t whole = v->val1;
	int32_t frac = v->val2 / 10000;
	bool neg = (v->val1 < 0) || (v->val1 == 0 && v->val2 < 0);

	if (whole < 0) {
		whole = -whole;
	}
	if (frac < 0) {
		frac = -frac;
	}

	snprintf(buf, n, "%c: %s%d.%02d", axis, neg ? "-" : "", whole, frac);
}

/* Inicializa o OLED via CFB. */
static bool display_init(void)
{
	if (!device_is_ready(display)) {
		LOG_ERR("OLED not ready");
		return false;
	}

	if (display_set_pixel_format(display, PIXEL_FORMAT_MONO10) != 0 &&
	    display_set_pixel_format(display, PIXEL_FORMAT_MONO01) != 0) {
		LOG_ERR("OLED: pixel format not support");
		return false;
	}

	if (cfb_framebuffer_init(display) != 0) {
		LOG_ERR("OLED: cfb init fail");
		return false;
	}

	cfb_framebuffer_clear(display, true);
	display_blanking_off(display);
	cfb_framebuffer_set_font(display, 0);
	return true;
}

static void display_accel(const struct sensor_value a[3], uint8_t line_h)
{
	char line[20];

	cfb_framebuffer_clear(display, false);
	fmt_axis(line, sizeof(line), 'x', &a[0]);
	cfb_print(display, line, 0, 0);
	fmt_axis(line, sizeof(line), 'y', &a[1]);
	cfb_print(display, line, 0, line_h);
	fmt_axis(line, sizeof(line), 'z', &a[2]);
	cfb_print(display, line, 0, 2 * line_h);
	cfb_framebuffer_finalize(display);
}

int main(void)
{
	size_t color = 0;
	bool have_mpu, have_display;
	uint8_t fw = 0, fh = 10;

	if (!device_is_ready(strip)) {
		LOG_ERR("WS2812 not ready");
		return 0;
	}

	if (!led_is_ready_dt(&buzzer)) {
		LOG_ERR("Buzzer not ready");
		return 0;
	}

	have_mpu = device_is_ready(accel);
	if (!have_mpu) {
		LOG_ERR("MPU6050 not ready");
	}

	have_display = display_init();
	if (have_display) {
		cfb_get_font_size(display, 0, &fw, &fh);
	}

	LOG_INF("Bringup running...");
	show_color(color);

	while (1) {
		/* Acorda imediatamente num aperto, ou a cada REFRESH_MS
		 * para atualizar a tela.
		 */
		if (k_sem_take(&press_sem, K_MSEC(REFRESH_MS)) == 0) {
			beep();
			color = (color + 1) % ARRAY_SIZE(palette);
			show_color(color);
			LOG_INF("Led color -> index %u", color);
		}

		if (have_mpu) {
			struct sensor_value a[3];
			int rc = sensor_sample_fetch(accel);

			if (rc == 0) {
				rc = sensor_channel_get(accel, SENSOR_CHAN_ACCEL_XYZ, a);
			}

			if (rc == 0) {
				// LOG_INF("accel x=%d.%06d y=%d.%06d z=%d.%06d",
				// 	a[0].val1, abs(a[0].val2), a[1].val1, abs(a[1].val2),
				// 	a[2].val1, abs(a[2].val2));
				if (have_display) {
					display_accel(a, fh);
				}
			} else {
				LOG_ERR("MPU fetch/get: %d", rc);
			}
		}
	}

	return 0;
}
```

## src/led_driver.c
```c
/**
 * @file led_driver.c
 *
 * @author Pedro Giló (phvg@ic.ufal.br)
 * @author Thiago Laurentino (tfml@ic.ufal.br)
 * @author Caio Oliveira (cofa@ic.ufal.br)
 *
 * @brief Driver do LED WS2812 (I2S): motor de efeitos por canal e servico que
 *        segue a fase do Pomodoro pelo canal de UI (cor fixa por fase; branco
 *        quando pausado).
 * @version 0.1
 * @date 2026-07-05
 *
 * @copyright Copyright (c) 2026
 *
 */

#include "led_driver.h"
#include "ui_service.h"
#include "zbus_chan.h"

#include <zephyr/kernel.h>
#include <zephyr/device.h>
#include <zephyr/devicetree.h>
#include <zephyr/drivers/led_strip.h>
#include <zephyr/zbus/zbus.h>
#include <zephyr/logging/log.h>

LOG_MODULE_REGISTER(led_driver, LOG_LEVEL_INF);

#define STRIP_NODE         DT_ALIAS(led_strip)
#define NUM_LEDS           DT_PROP(STRIP_NODE, chain_length)
#define UPDATE_INTERVAL_MS 20

/** @brief Tamanho da stack da thread do led_driver (bytes). */
#define LED_DRIVER_STACK_SIZE 2048

/** @brief Prioridade da thread do led_driver. */
#define LED_DRIVER_PRIORITY 7

/** @brief Profundidade da fila do subscriber do canal de UI. */
#define LED_DRIVER_QUEUE_DEPTH 8

/** @brief Cor da fase WORK (vermelho). */
#define LED_COLOR_WORK ((led_color_t){255, 0, 0})

/** @brief Cor da fase SHORT_BREAK (verde). */
#define LED_COLOR_BREAK ((led_color_t){0, 255, 0})

/** @brief Cor da fase LONG_BREAK (azul). */
#define LED_COLOR_LONG_BREAK ((led_color_t){0, 0, 255})

/** @brief Cor do estado pausado (branco). */
#define LED_COLOR_PAUSED ((led_color_t){255, 255, 255})

/** @brief Cor apagada (preto). */
#define LED_COLOR_OFF ((led_color_t){0, 0, 0})

static const struct device *const strip_dev = DEVICE_DT_GET(STRIP_NODE);
static led_channel_t led_channels[NUM_LEDS];
static struct led_rgb strip_pixels[NUM_LEDS];
static struct k_work_delayable led_work;

static led_color_t interpolate_color(led_color_t c1, led_color_t c2, uint32_t step,
				     uint32_t max_step)
{
	led_color_t res;
	if (max_step == 0) {
		return c1;
	}
	res.r = (uint8_t)(c1.r + ((int32_t)(c2.r - c1.r) * (int32_t)step) / (int32_t)max_step);
	res.g = (uint8_t)(c1.g + ((int32_t)(c2.g - c1.g) * (int32_t)step) / (int32_t)max_step);
	res.b = (uint8_t)(c1.b + ((int32_t)(c2.b - c1.b) * (int32_t)step) / (int32_t)max_step);
	return res;
}

static bool colors_equal(led_color_t c1, led_color_t c2)
{
	return (c1.r == c2.r) && (c1.g == c2.g) && (c1.b == c2.b);
}

static bool has_active_effects(void)
{
	for (uint32_t i = 0; i < NUM_LEDS; i++) {
		if (led_channels[i].effect != LED_EFFECT_OFF &&
		    led_channels[i].effect != LED_EFFECT_SOLID) {
			return true;
		}
	}
	return false;
}

static void led_work_handler(struct k_work *work)
{
	bool needs_update = false;

	for (uint32_t i = 0; i < NUM_LEDS; i++) {
		led_channel_t *ch = &led_channels[i];
		if (ch->effect == LED_EFFECT_OFF || ch->effect == LED_EFFECT_SOLID) {
			continue;
		}

		ch->elapsed_ms += UPDATE_INTERVAL_MS;
		if (ch->elapsed_ms >= ch->period_ms) {
			ch->elapsed_ms %= ch->period_ms;
		}

		led_color_t new_color = ch->current_color;

		switch (ch->effect) {
		case LED_EFFECT_BLINK: {
			uint32_t half_period = ch->period_ms / 2;
			if (ch->elapsed_ms < half_period) {
				new_color = ch->color1;
			} else {
				new_color = ch->color2;
			}
			break;
		}
		case LED_EFFECT_FADE: {
			uint32_t half_period = ch->period_ms / 2;
			if (half_period == 0) {
				break;
			}
			if (ch->elapsed_ms <= half_period) {
				new_color = interpolate_color(ch->color1, ch->color2,
							      ch->elapsed_ms, half_period);
			} else {
				uint32_t step = ch->elapsed_ms - half_period;
				new_color = interpolate_color(ch->color2, ch->color1, step,
							      half_period);
			}
			break;
		}
		case LED_EFFECT_STROBE: {
			uint32_t on_time = (ch->period_ms > 50) ? 50 : (ch->period_ms / 4);
			if (ch->elapsed_ms < on_time) {
				new_color = ch->color1;
			} else {
				new_color = (led_color_t){0, 0, 0};
			}
			break;
		}
		default:
			break;
		}

		if (!colors_equal(ch->current_color, new_color)) {
			ch->current_color = new_color;
			strip_pixels[i].r = new_color.r;
			strip_pixels[i].g = new_color.g;
			strip_pixels[i].b = new_color.b;
			needs_update = true;
		}
	}

	if (needs_update) {
		led_strip_update_rgb(strip_dev, strip_pixels, NUM_LEDS);
	}

	if (has_active_effects()) {
		k_work_schedule(&led_work, K_MSEC(UPDATE_INTERVAL_MS));
	}
}

int led_driver_init(void)
{
	if (!device_is_ready(strip_dev)) {
		return -ENODEV;
	}

	k_work_init_delayable(&led_work, led_work_handler);

	for (uint32_t i = 0; i < NUM_LEDS; i++) {
		led_channels[i].effect = LED_EFFECT_OFF;
		led_channels[i].color1 = (led_color_t){0, 0, 0};
		led_channels[i].color2 = (led_color_t){0, 0, 0};
		led_channels[i].current_color = (led_color_t){0, 0, 0};
		led_channels[i].period_ms = 1000;
		led_channels[i].elapsed_ms = 0;

		strip_pixels[i].r = 0;
		strip_pixels[i].g = 0;
		strip_pixels[i].b = 0;
	}

	return led_strip_update_rgb(strip_dev, strip_pixels, NUM_LEDS);
}

void led_driver_set_effect(uint32_t index, led_effect_t effect, led_color_t c1, led_color_t c2,
			   uint32_t period_ms)
{
	if (index >= NUM_LEDS) {
		return;
	}
	led_channel_t *ch = &led_channels[index];
	ch->effect = effect;
	ch->color1 = c1;
	ch->color2 = c2;
	ch->period_ms = (period_ms > 0) ? period_ms : 1;
	ch->elapsed_ms = 0;

	if (effect == LED_EFFECT_OFF) {
		ch->current_color = (led_color_t){0, 0, 0};
	} else if (effect == LED_EFFECT_SOLID) {
		ch->current_color = c1;
	}

	if (effect == LED_EFFECT_OFF || effect == LED_EFFECT_SOLID) {
		strip_pixels[index].r = ch->current_color.r;
		strip_pixels[index].g = ch->current_color.g;
		strip_pixels[index].b = ch->current_color.b;
		led_strip_update_rgb(strip_dev, strip_pixels, NUM_LEDS);
	} else {
		k_work_schedule(&led_work, K_MSEC(UPDATE_INTERVAL_MS));
	}
}

void led_driver_set_color(uint32_t index, led_color_t color)
{
	led_driver_set_effect(index, LED_EFFECT_SOLID, color, (led_color_t){0, 0, 0}, 0);
}

void led_driver_set_all(led_effect_t effect, led_color_t c1, led_color_t c2, uint32_t period_ms)
{
	for (uint32_t i = 0; i < NUM_LEDS; i++) {
		led_channel_t *ch = &led_channels[i];
		ch->effect = effect;
		ch->color1 = c1;
		ch->color2 = c2;
		ch->period_ms = (period_ms > 0) ? period_ms : 1;
		ch->elapsed_ms = 0;

		if (effect == LED_EFFECT_OFF) {
			ch->current_color = (led_color_t){0, 0, 0};
		} else if (effect == LED_EFFECT_SOLID) {
			ch->current_color = c1;
		}

		strip_pixels[i].r = ch->current_color.r;
		strip_pixels[i].g = ch->current_color.g;
		strip_pixels[i].b = ch->current_color.b;
	}

	if (effect == LED_EFFECT_OFF || effect == LED_EFFECT_SOLID) {
		led_strip_update_rgb(strip_dev, strip_pixels, NUM_LEDS);
	} else {
		k_work_schedule(&led_work, K_MSEC(UPDATE_INTERVAL_MS));
	}
}

/**
 * @brief Cor fixa para um estado/fase: branco se pausado, senao a cor da fase.
 *
 * @param state Estado de operacao do timer (rodando ou pausado).
 * @param phase Fase atual do ciclo.
 * @return led_color_t Cor a aplicar no LED.
 */
static led_color_t led_color_for(enum ui_run_state state, enum ui_phase phase);

/**
 * @brief Thread do led_driver: inicializa o strip e segue a fase do Pomodoro
 *        pelo canal de UI, pintando cor solida por fase (branco quando pausado).
 *
 * @param p1 Nao utilizado.
 * @param p2 Nao utilizado.
 * @param p3 Nao utilizado.
 */
static void led_driver_thread(void *p1, void *p2, void *p3);

ZBUS_SUBSCRIBER_DEFINE(led_driver_subscriber, LED_DRIVER_QUEUE_DEPTH);

ZBUS_CHAN_ADD_OBS(ui_cmd_chan, led_driver_subscriber, 4);

K_THREAD_DEFINE(led_driver_tid, LED_DRIVER_STACK_SIZE, led_driver_thread, NULL, NULL, NULL,
		LED_DRIVER_PRIORITY, 0, 0);

static led_color_t led_color_for(enum ui_run_state state, enum ui_phase phase)
{
	led_color_t color;

	if (state == UI_STATE_PAUSED) {
		return LED_COLOR_PAUSED;
	}

	switch (phase) {
	case UI_PHASE_WORK: {
		color = LED_COLOR_WORK;
	} break;
	case UI_PHASE_SHORT_BREAK: {
		color = LED_COLOR_BREAK;
	} break;
	case UI_PHASE_LONG_BREAK: {
		color = LED_COLOR_LONG_BREAK;
	} break;
	default: {
		color = LED_COLOR_OFF;
	} break;
	}

	return color;
}

static void led_driver_thread(void *p1, void *p2, void *p3)
{
	ARG_UNUSED(p1);
	ARG_UNUSED(p2);
	ARG_UNUSED(p3);

	const struct zbus_channel *chan;
	led_color_t last = {0, 0, 0};

	int rc = led_driver_init();

	if (rc) {
		LOG_ERR("led_driver_init falhou: %d", rc);
		return;
	}

	while (!zbus_sub_wait(&led_driver_subscriber, &chan, K_FOREVER)) {
		struct ui_msg msg = {0};

		if (&ui_cmd_chan != chan) {
			continue;
		}

		rc = zbus_chan_read(&ui_cmd_chan, &msg, K_MSEC(200));
		if (rc) {
			LOG_WRN("zbus_chan_read (ui) falhou: %d", rc);
			continue;
		}

		if (msg.screen != UI_SCREEN_MAIN) {
			continue;
		}

		led_color_t color = led_color_for(msg.data.main.state, msg.data.main.phase);

		if (!colors_equal(color, last)) {
			last = color;
			led_driver_set_all(LED_EFFECT_SOLID, color, LED_COLOR_OFF, 0);
		}
	}
}
```
